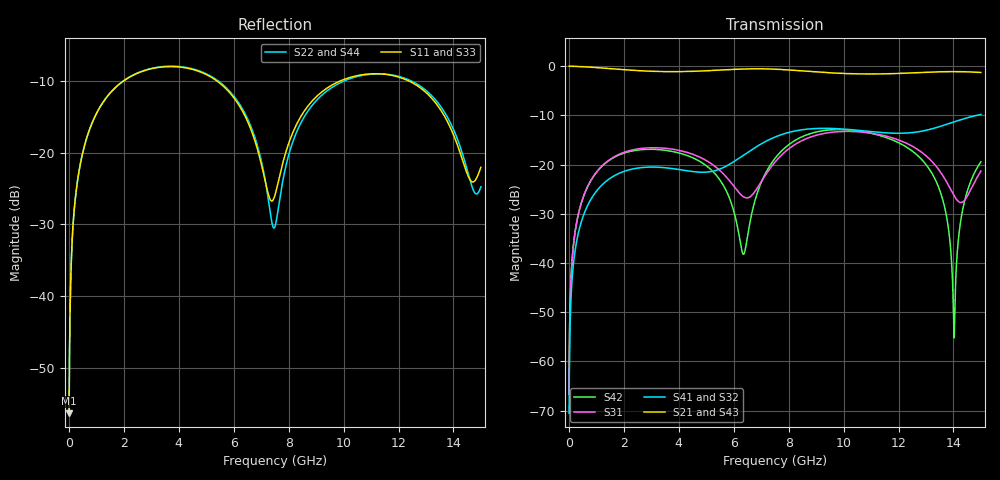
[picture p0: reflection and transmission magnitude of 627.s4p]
! Created with skrf 1.8.0 (http://scikit-rf.org).
# GHz S RI R 50.0
!freq ReS11 ImS11 ReS12 ImS12 ReS13 ImS13
! ReS14 ImS14
! ReS21 ImS21 ReS22 ImS22 ReS23 ImS23
! ReS24 ImS24
! ReS31 ImS31 ReS32 ImS32 ReS33 ImS33
! ReS34 ImS34
! ReS41 ImS41 ReS42 ImS42 ReS43 ImS43
! ReS44 ImS44
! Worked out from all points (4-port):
!   2499 points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, 5 MHz to 15 GHz, reference 50 ohm
!   strongest paths, dB at 5 MHz, 3.476 GHz, 7.19 GHz, 11.1 GHz, 15 GHz:
!     S21: 0.0, -1.1, -0.6, -1.6, -1.3
!     S43: 0.0, -1.1, -0.6, -1.6, -1.3
!     S41: -70.5, -20.6, -15.2, -13.4, -9.8
!     S32: -70.5, -20.6, -15.2, -13.2, -9.8
!     S31: -66.7, -16.7, -21.8, -13.7, -21.3
!     S42: -66.7, -17.1, -21.4, -13.8, -19.4
!   lowest |S11| = -56.3 dB at 5 MHz (marker M1), VSWR 1.00, Z = 50.1 + j0.093 ohm
!   |S11| at or under -10 dB: start of sweep to 1.994 GHz; 5.383 GHz to 9.887 GHz (4.504 GHz wide, 59 % of centre); 12.37 GHz to end of sweep
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0.005  0.00122 0.000928  0.9988 -0.00237  5.93e-05 0.000461  -5.77e-05 -0.000291
       0.9988 -0.00237  0.00122 0.000928  -5.77e-05 -0.000291  5.92e-05 0.000461
       5.93e-05 0.000461  -5.77e-05 -0.000291  0.00122 0.000928  0.9988 -0.00237
       -5.77e-05 -0.000291  5.92e-05 0.000461  0.9988 -0.00237  0.00122 0.000928
0.4126719  0.022 0.0802  0.9696 -0.194  0.0103 0.0361  -0.00833 -0.0227
           0.9696 -0.194  0.0221 0.0802  -0.00835 -0.0227  0.00969 0.0363
           0.0103 0.0361  -0.00835 -0.0227  0.022 0.0802  0.9696 -0.194
           -0.00833 -0.0227  0.00969 0.0363  0.9696 -0.194  0.0221 0.0802
1.925802  0.2439 0.1903  0.6034 -0.6985  0.1162 0.0595  -0.0823 -0.0149
          0.6034 -0.6985  0.2461 0.1891  -0.0826 -0.0146  0.1085 0.0686
          0.1162 0.0595  -0.0826 -0.0146  0.2438 0.1904  0.6034 -0.6986
          -0.0823 -0.0149  0.1085 0.0686  0.6034 -0.6986  0.2462 0.189
7.359316  0.0455 -0.00774  -0.9318 -0.0682  -0.0288 0.0899  -0.0127 0.1823
          -0.9318 -0.0682  0.0287 -0.0203  -0.00785 0.1826  0.0256 0.0984
          -0.0288 0.0899  -0.00785 0.1826  0.0456 -0.00906  -0.9318 -0.0682
          -0.0127 0.1823  0.0256 0.0984  -0.9318 -0.0682  0.029 -0.0207
12.4802  0.275 -0.1394  0.3322 0.7854  0.0864 -0.1284  0.1723 -0.1216
         0.3322 0.7854  0.2815 -0.1403  0.1673 -0.1346  0.103 -0.0925
         0.0864 -0.1284  0.1673 -0.1346  0.2759 -0.1333  0.333 0.7848
         0.1723 -0.1216  0.103 -0.0925  0.333 0.7848  0.2814 -0.1469
14.02459  0.0883 -0.0955  0.7702 0.4245  -0.0392 -0.0284  0.1308 -0.2379
          0.7702 0.4245  0.0872 -0.1119  0.1145 -0.2464  0.00172 0.000211
          -0.0392 -0.0284  0.1145 -0.2464  0.0944 -0.0929  0.7706 0.4234
          0.1308 -0.2379  0.00172 0.000211  0.7706 0.4234  0.0825 -0.1156
15  0.0707 0.0352  0.8597 0.0559  -0.000192 0.0858  0.0177 -0.3223
    0.8597 0.0559  0.0548 0.0183  -0.00261 -0.3227  0.0392 0.0993
    -0.000192 0.0858  -0.00261 -0.3227  0.076 0.0328  0.8597 0.0545
    0.0177 -0.3223  0.0392 0.0993  0.8597 0.0545  0.0508 0.0193
